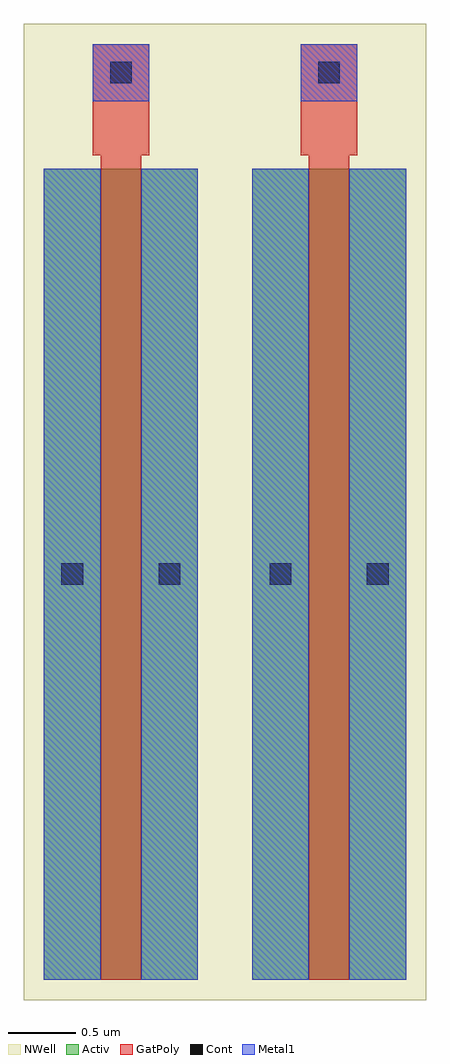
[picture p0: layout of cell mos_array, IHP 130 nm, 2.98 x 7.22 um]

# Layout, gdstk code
import gdstk
lib = gdstk.Library(unit=1e-6, precision=1e-09)
def R(c, l, rs):  # rectangles x0, y0, x1, y1
    for r in rs: c.add(gdstk.rectangle(r[:2], r[2:], *l))
Activ = (1, 0)
GatPoly = (5, 0)
Cont = (6, 0)
Metal1 = (8, 0)
NWell = (31, 0)

mos_array = lib.new_cell('mos_array')
R(mos_array, Activ, [(0,0,1.14,6), (1.54,0,2.68,6)])
R(mos_array, GatPoly, [(0.42,0,0.72,6), (1.96,0,2.26,6), (0.42,6,0.72,6.1), (1.96,6,2.26,6.1), (0.36,6.1,0.78,6.92), (1.9,6.1,2.32,6.92)])
R(mos_array, Cont, [(0.13,2.92,0.29,3.08), (0.85,2.92,1.01,3.08), (1.67,2.92,1.83,3.08), (2.39,2.92,2.55,3.08), (0.49,6.63,0.65,6.79), (2.03,6.63,2.19,6.79)])
R(mos_array, Metal1, [(0,0,0.42,6), (0.72,0,1.14,6), (1.54,0,1.96,6), (2.26,0,2.68,6), (0.36,6.5,0.78,6.92), (1.9,6.5,2.32,6.92)])
R(mos_array, NWell, [(-0.15,-0.15,2.83,7.07)])

lib.write_gds('mos_array.gds')
